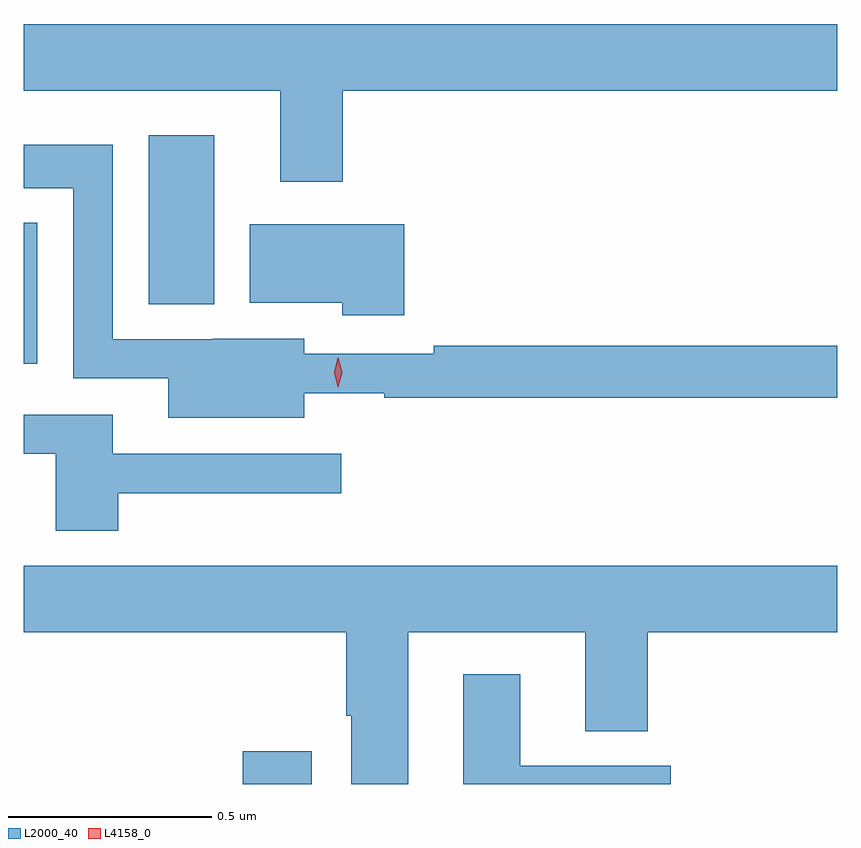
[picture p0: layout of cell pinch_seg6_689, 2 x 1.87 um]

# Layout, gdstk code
import gdstk
lib = gdstk.Library(unit=1e-6, precision=1e-09)
def R(c, l, rs):  # rectangles x0, y0, x1, y1
    for r in rs: c.add(gdstk.rectangle(r[:2], r[2:], *l))
def P(c, l, *ps):  # polygons
    for p in ps: c.add(gdstk.Polygon(p, *l))
L2000_40 = (2000, 40)
L4158_0 = (4158, 0)

pinch_seg6_689 = lib.new_cell('pinch_seg6_689')
R(pinch_seg6_689, L2000_40, [(471.914,918.991,472.084,919.072), (471.376,920.025,471.409,920.371), (471.683,920.171,471.844,920.587)])
P(pinch_seg6_689, L2000_40, [(472.16,920.696),(473.376,920.696),(473.376,920.86),(471.376,920.86),(471.376,920.696),(472.007,920.696),(472.007,920.472),(472.16,920.472)],
  [(472.066,919.952),(472.262,919.952),(472.262,919.941),(473.376,919.941),(473.376,920.069),(472.384,920.069),(472.384,920.049),(472.066,920.049),(472.066,920.086),(471.84,920.086),(471.84,920.085),(471.594,920.085),(471.594,920.563),(471.376,920.563),(471.376,920.456),(471.498,920.456),(471.498,919.989),(471.731,919.989),(471.731,919.892),(472.066,919.892)],
  [(472.312,920.368),(471.932,920.368),(471.932,920.174),(472.159,920.174),(472.159,920.144),(472.312,920.144)],
  [(471.608,919.706),(472.156,919.706),(472.156,919.803),(471.595,919.803),(471.595,919.899),(471.376,919.899),(471.376,919.803),(471.455,919.803),(471.455,919.614),(471.608,919.614)],
  [(472.321,919.364),(472.757,919.364),(472.757,919.121),(472.91,919.121),(472.91,919.364),(473.376,919.364),(473.376,919.528),(471.376,919.528),(471.376,919.364),(472.169,919.364),(472.169,919.159),(472.181,919.159),(472.181,918.991),(472.321,918.991)],
  [(472.967,919.036),(472.597,919.036),(472.597,919.261),(472.457,919.261),(472.457,918.991),(472.967,918.991)])
P(pinch_seg6_689, L4158_0, [(472.149,919.967),(472.148,919.968),(472.139,920.003),(472.148,920.039),(472.149,920.039),(472.149,920.039),(472.159,920.003),(472.149,919.968)])

lib.write_gds('pinch_seg6_689.gds')
